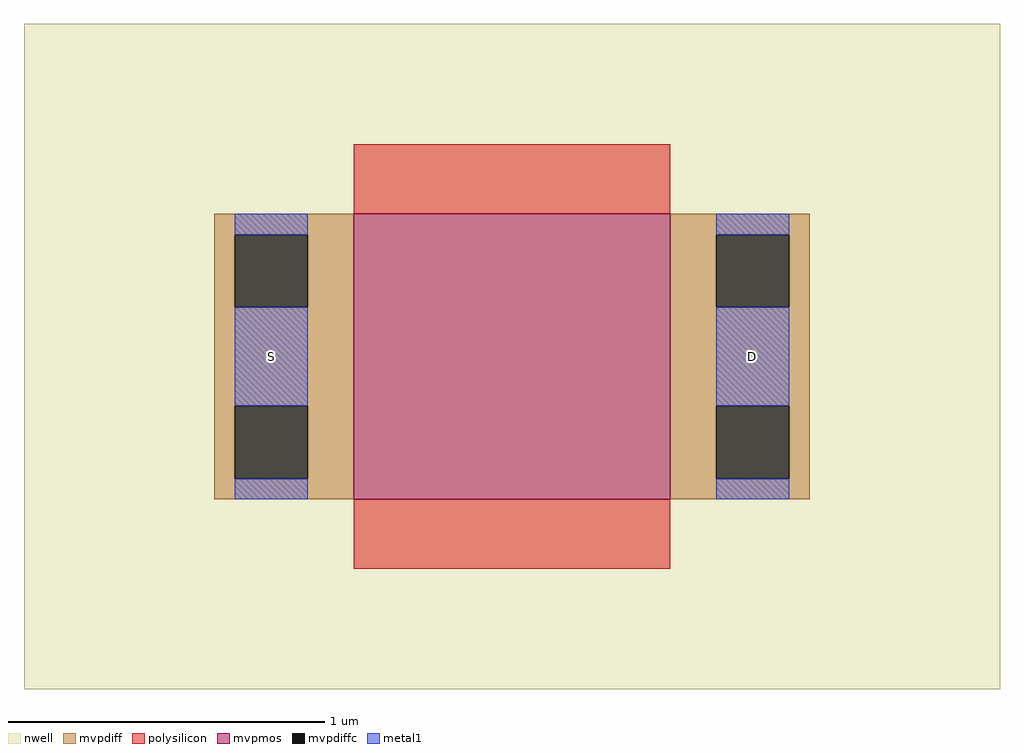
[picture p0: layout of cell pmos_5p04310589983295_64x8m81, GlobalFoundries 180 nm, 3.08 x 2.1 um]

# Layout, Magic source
magic
tech gf180mcuA
magscale 1 10
<< nwell >>
rect -208 -120 408 300
<< mvpmos >>
rect 0 0 200 180
<< mvpdiff >>
rect -88 167 0 180
rect -88 121 -75 167
rect -29 121 0 167
rect -88 59 0 121
rect -88 13 -75 59
rect -29 13 0 59
rect -88 0 0 13
rect 200 167 288 180
rect 200 121 229 167
rect 275 121 288 167
rect 200 59 288 121
rect 200 13 229 59
rect 275 13 288 59
rect 200 0 288 13
<< mvpdiffc >>
rect -75 121 -29 167
rect -75 13 -29 59
rect 229 121 275 167
rect 229 13 275 59
<< polysilicon >>
rect 0 180 200 224
rect 0 -44 200 0
<< metal1 >>
rect -75 167 -29 180
rect -75 59 -29 121
rect -75 0 -29 13
rect 229 167 275 180
rect 229 59 275 121
rect 229 0 275 13
<< labels >>
flabel metal1 s -52 90 -52 90 0 FreeSans 400 0 0 0 S
flabel metal1 s 252 90 252 90 0 FreeSans 400 0 0 0 D
<< properties >>
string GDS_END 864072
string GDS_FILE $PDKPATH/libs.ref/gf180mcu_fd_ip_sram/gds/gf180mcu_fd_ip_sram__sram64x8m8wm1.gds
string GDS_START 862856
<< end >>
